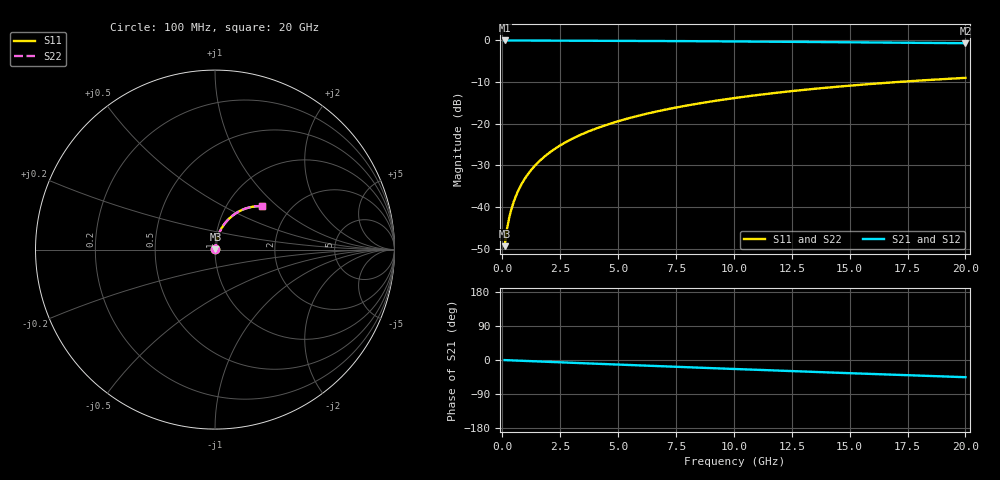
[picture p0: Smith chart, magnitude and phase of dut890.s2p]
! Touchstone file exported from HFSS 2026.1.0
!  File:  C:/ffzhzh/LocalFiles/Ansys_Project_Files/temp_train_TMRDL_890_1783157640_43440.aedt
!  Generated:  05:35:19 PM Jul  4, 2026
!  Design:  TMRDL
!  Project:  temp_train_TMRDL_890_1783157640_43440
! Variables:
!  h_bsmrdl = 2um
!  h_ox = 20um
!  h_rdl = 5um
!  h_sub = 80um
!  h_tmrdl = 4.42um
!  h_tsv = 80um
!  h_via = 3um
!  l_bsmrdl = 300um
!  l_sub = 1100um
!  l_tmrdl = 700um
!  m_sub = 200um
!  pitch = 51.32um
!  r_tsv = 6um
!  s_tmrdl = 10um
!  w_bsmrdl = 18um
!  w_sub = 500um
!  w_tmrdl = 27.03um
!  x_tsv_center1 = 713.515um
!  x_tsv_center2 = 1031.515um
!  x_tsv_center3 = 1758.545um
!  x_tsv_center4 = 2076.545um
!  x_tsv_center5 = 2803.575um
!  x_tsv_center6 = 3121.575um
# GHz S MA R 50.000000
! Terminal data exported
! Port[1] = TM_RDL1_1_T1
! Port[2] = TM_RDL1_1_T2
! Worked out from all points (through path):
!   200 points, 100 MHz to 20 GHz, reference 50 ohm
!   highest |S21| = -0.02 dB at 100 MHz (marker M1); lowest = -0.7 dB at 20 GHz (marker M2)
!   group delay of S21, straight-line fit = 6.3 ps
!   lowest |S11| = -49.4 dB at 100 MHz (marker M3), VSWR 1.01, Z = 50.2 + j0.246 ohm
!   |S11| at or under -10 dB: start of sweep to 17.08 GHz
!   |S22| runs from -49.4 to -9.0 dB; largest |S21 - S12| = 2.7e-15
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0.1  0.003374 46.6  0.9977 -0.3  0.9977 -0.3  0.003374 46.6
! Gamma 0 0 0 0
! Port Impedance 50 0 50 0
0.2  0.005379 61.8  0.9975 -0.5  0.9975 -0.5  0.005379 61.8
0.3  0.007449 68.4  0.9973 -0.8  0.9973 -0.8  0.007449 68.4
0.4  0.009537 72.2  0.9972 -1.0  0.9972 -1.0  0.009537 72.2
0.5  0.01165 74.8  0.9971 -1.2  0.9971 -1.2  0.01165 74.8
0.6  0.01377 76.5  0.997 -1.5  0.997 -1.5  0.01377 76.5
0.8  0.01807 78.6  0.9969 -2.0  0.9969 -2.0  0.01807 78.6
1.1  0.02456 80.1  0.9966 -2.7  0.9966 -2.7  0.02455 80.1
1.5  0.03323 80.7  0.9962 -3.7  0.9962 -3.7  0.03323 80.7
1.8  0.03972 80.6  0.9958 -4.4  0.9958 -4.4  0.03972 80.6
2.1  0.04618 80.4  0.9953 -5.1  0.9953 -5.1  0.04618 80.4
2.7  0.05902 79.5  0.9942 -6.6  0.9942 -6.6  0.05902 79.5
3.5  0.0759 78.0  0.9925 -8.5  0.9925 -8.5  0.07589 78.0
4.2  0.09043 76.6  0.9908 -10.2  0.9908 -10.2  0.09043 76.6
5  0.1068 74.9  0.9886 -12.1  0.9886 -12.1  0.1068 74.9
5.9  0.1248 72.9  0.9859 -14.2  0.9859 -14.2  0.1248 72.9
6.8  0.1425 70.9  0.983 -16.3  0.983 -16.3  0.1425 70.9
8.3  0.1712 67.7  0.9776 -19.8  0.9776 -19.8  0.1712 67.7
10.1  0.2043 63.8  0.9706 -23.9  0.9706 -23.9  0.2043 63.8
13.4  0.2606 56.7  0.9561 -31.3  0.9561 -31.3  0.2606 56.7
16.7  0.3109 49.7  0.9404 -38.5  0.9404 -38.5  0.3109 49.7
20  0.3546 43.0  0.9245 -45.4  0.9245 -45.4  0.3546 43.0
